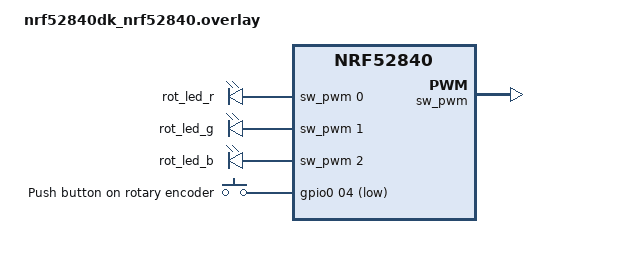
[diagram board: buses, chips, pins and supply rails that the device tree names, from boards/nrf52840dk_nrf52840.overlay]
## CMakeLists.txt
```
cmake_minimum_required(VERSION 3.20.0)
find_package(Zephyr REQUIRED HINTS $ENV{ZEPHYR_BASE})

project(rotaryEncoderRGB)

target_sources(app PRIVATE src/main.c)
```

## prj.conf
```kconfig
CONFIG_PWM=y
CONFIG_PWM_LOG_LEVEL_ERR=y

CONFIG_STDOUT_CONSOLE=y
CONFIG_PRINTK=y

CONFIG_LOG=y
CONFIG_LOG_PRINTK=y
CONFIG_LOG_MODE_IMMEDIATE=y

CONFIG_GPIO=y
```

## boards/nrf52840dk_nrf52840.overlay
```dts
/{
	pwmleds {
		compatible = "pwm-leds";
		rot_led_r: rot_led_r {
			status = "okay";
			pwms = <&sw_pwm 0 PWM_MSEC(20) PWM_POLARITY_INVERTED>;
		};
		rot_led_g: rot_led_pwm_g {
			status = "okay";
			pwms = <&sw_pwm 1 PWM_MSEC(20) PWM_POLARITY_INVERTED>;
		};
		rot_led_b: rot_led_pwm_b {
			status = "okay";
			pwms = <&sw_pwm 2 PWM_MSEC(20) PWM_POLARITY_INVERTED>;
		};
	};

	buttons {
		compatible = "gpio-keys";
		rot_btn: rot_btn {
			gpios = <&gpio0 04 (GPIO_PULL_UP | GPIO_ACTIVE_LOW)>;
			label = "Push button on rotary encoder";
			zephyr,code = <INPUT_KEY_0>;
		};
	};

	aliases {
		rot-led-red = &rot_led_r;
		rot-led-green = &rot_led_g;
		rot-led-blue = &rot_led_b;
		rot-btn = &rot_btn;
	};
};

&pwm0 {
	status = "disabled";
};

&sw_pwm {
	status = "okay";
	channel-gpios = <&gpio0 29 PWM_POLARITY_INVERTED>,
	                <&gpio0 28 PWM_POLARITY_INVERTED>,
	                <&gpio0 03 PWM_POLARITY_INVERTED>;
};
```

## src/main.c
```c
#include <inttypes.h>
#include <zephyr/device.h>
#include <zephyr/drivers/gpio.h>
#include <zephyr/drivers/pwm.h>
#include <zephyr/kernel.h>
#include <zephyr/sys/printk.h>
#include <zephyr/sys/util.h>

#define BTN_NODE DT_ALIAS(rot_btn)
#if !DT_NODE_HAS_STATUS(BTN_NODE, okay)
#error "Unsupported board: sw0 devicetree alias is not defined"
#endif

/**
 * From:
 * https://github.com/sparkfun/Rotary_Encoder_Breakout-Illuminated/blob/main/Firmware/RGB_Rotary_Encoder/RGB_Rotary_Encoder.ino
 *
 * Rotary encoder pin A to digital pin 3*
 * Rotary encoder pin B to analog pin 3
 * Rotary encoder pin C to ground
 *
 * This sketch implements software debounce, but you can further
 * improve performance by placing 0.1uF capacitors between
 * A and ground, and B and ground.
 *
 * If you wish to use the RGB LED and button functions of
 * SparkFun part number COM-10982, use the following connections:
 *
 * Rotary encoder pin 1 (red cathode) to digital pin 10
 * Rotary encoder pin 2 (green cathode) to analog pin 1
 * Rotary encoder pin 3 (button) to digital pin 4
 * Rotary encoder pin 4 (blue cathode) to digital pin 5
 * Rotary encoder pin 5 (common anode) to VCC (3.3V or 5V)
 *
 * Note that because this is a common anode device,
 * the pushbutton requires an external 1K-10K pullDOWN resistor
 * to operate.
 */

static const struct gpio_dt_spec rotBtn = GPIO_DT_SPEC_GET_OR(BTN_NODE, gpios, {0});

static const struct pwm_dt_spec rotLedRed   = PWM_DT_SPEC_GET(DT_ALIAS(rot_led_red));
static const struct pwm_dt_spec rotLedGreen = PWM_DT_SPEC_GET(DT_ALIAS(rot_led_green));
static const struct pwm_dt_spec rotLedBlue  = PWM_DT_SPEC_GET(DT_ALIAS(rot_led_blue));

#define NUM_STEPS 50U
#define SLEEP_MSEC 25U

static struct gpio_callback rotButtonCbData;

void rotBtnPressed(const struct device *dev, struct gpio_callback *cb, uint32_t pins);
int ledFadeInOut(const struct pwm_dt_spec *led, const uint32_t numSteps, const size_t timeoutMs);

int main(void)
{
    int ret;

    printk("Test Rotary Encoder - Illuminated (RGB)\n");

    if (!pwm_is_ready_dt(&rotLedRed))
    {
        printk("Error: PWM device %s is not ready\n", rotLedRed.dev->name);
        return 0;
    }

    if (!pwm_is_ready_dt(&rotLedGreen))
    {
        printk("Error: PWM device %s is not ready\n", rotLedGreen.dev->name);
        return 0;
    }

    if (!pwm_is_ready_dt(&rotLedBlue))
    {
        printk("Error: PWM device %s is not ready\n", rotLedBlue.dev->name);
        return 0;
    }

    if (!gpio_is_ready_dt(&rotBtn))
    {
        printk("Error: rotBtn device %s is not ready\n", rotBtn.port->name);
        return 0;
    }
    ret = gpio_pin_configure_dt(&rotBtn, GPIO_INPUT);
    if (ret != 0)
    {
        printk("Error %d: failed to configure %s pin %d\n", ret, rotBtn.port->name, rotBtn.pin);
        return 0;
    }

    ret = gpio_pin_interrupt_configure_dt(&rotBtn, GPIO_INT_EDGE_TO_ACTIVE);
    if (ret != 0)
    {
        printk("Error %d: failed to configure interrupt on %s pin %d\n", ret, rotBtn.port->name, rotBtn.pin);
        return 0;
    }

    gpio_init_callback(&rotButtonCbData, rotBtnPressed, BIT(rotBtn.pin));
    gpio_add_callback(rotBtn.port, &rotButtonCbData);
    printk("Set up button at %s pin %d\n", rotBtn.port->name, rotBtn.pin);

    while (1)
    {
        ret = ledFadeInOut(&rotLedRed, NUM_STEPS, SLEEP_MSEC);
        if (ret)
        {
            printk("Error %d: failed to set pulse width\n", ret);
            return 0;
        }

        ret = ledFadeInOut(&rotLedGreen, NUM_STEPS, SLEEP_MSEC);
        if (ret)
        {
            printk("Error %d: failed to set pulse width\n", ret);
            return 0;
        }

        ret = ledFadeInOut(&rotLedBlue, NUM_STEPS, SLEEP_MSEC);
        if (ret)
        {
            printk("Error %d: failed to set pulse width\n", ret);
            return 0;
        }
    }
    return 0;
}

void rotBtnPressed(const struct device *dev, struct gpio_callback *cb, uint32_t pins)
{
    printk("Button pressed at %" PRIu32 "\n", k_cycle_get_32());
}

int ledFadeInOut(const struct pwm_dt_spec *led, const uint32_t numSteps, const size_t timeoutMs)
{
    uint32_t step = led->period / numSteps;
    int ret       = 0;
    for (uint32_t i = 0; i < led->period; i += step)
    {
        ret = pwm_set_pulse_dt(led, i);
        if (ret)
        {
            return ret;
        }
        k_sleep(K_MSEC(timeoutMs));
    }

    for (uint32_t i = led->period; i > 0; i -= step)
    {
        ret = pwm_set_pulse_dt(led, i);
        if (ret)
        {
            return ret;
        }
        k_sleep(K_MSEC(timeoutMs));
    }
    ret = pwm_set_pulse_dt(led, 0);
    return ret;
}
```
